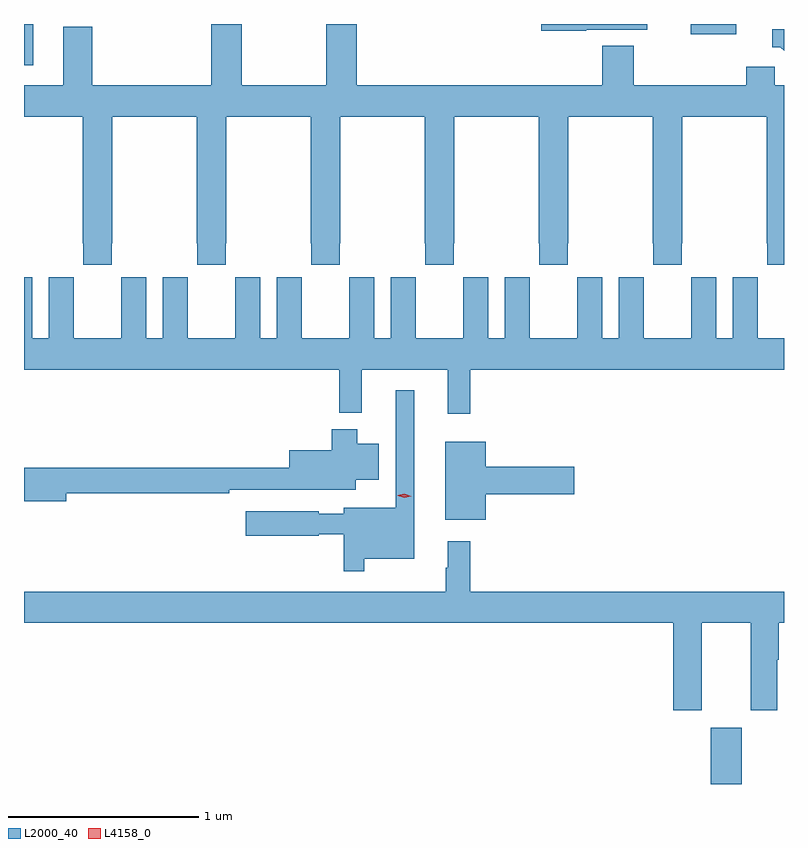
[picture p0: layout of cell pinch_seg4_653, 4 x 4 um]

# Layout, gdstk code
import gdstk
lib = gdstk.Library(unit=1e-6, precision=1e-09)
def R(c, l, rs):  # rectangles x0, y0, x1, y1
    for r in rs: c.add(gdstk.rectangle(r[:2], r[2:], *l))
def P(c, l, *ps):  # polygons
    for p in ps: c.add(gdstk.Polygon(p, *l))
L2000_40 = (2000, 40)
L4158_0 = (4158, 0)

pinch_seg4_653 = lib.new_cell('pinch_seg4_653')
R(pinch_seg4_653, L2000_40, [(1069.991,766.667,1070.155,766.963), (1066.377,770.451,1066.426,770.667), (1069.887,770.614,1070.126,770.667)])
P(pinch_seg4_653, L2000_40, [(1068.039,769.513),(1068.042,769.513),(1068.042,770.18),(1068.487,770.18),(1068.487,769.513),(1068.489,769.513),(1068.489,769.401),(1068.639,769.401),(1068.639,769.513),(1068.642,769.513),(1068.642,770.18),(1069.087,770.18),(1069.087,769.513),(1069.089,769.513),(1069.089,769.401),(1069.239,769.401),(1069.239,769.513),(1069.242,769.513),(1069.242,770.18),(1069.687,770.18),(1069.687,769.513),(1069.689,769.513),(1069.689,769.401),(1069.839,769.401),(1069.839,769.513),(1069.842,769.513),(1069.842,770.18),(1070.287,770.18),(1070.287,769.513),(1070.289,769.513),(1070.289,769.401),(1070.377,769.401),(1070.377,770.344),(1070.328,770.344),(1070.328,770.442),(1070.177,770.442),(1070.177,770.344),(1069.586,770.344),(1069.586,770.552),(1069.421,770.552),(1069.421,770.344),(1068.128,770.344),(1068.128,770.667),(1067.968,770.667),(1067.968,770.344),(1067.523,770.344),(1067.523,770.667),(1067.363,770.667),(1067.363,770.344),(1066.736,770.344),(1066.736,770.653),(1066.583,770.653),(1066.583,770.344),(1066.377,770.344),(1066.377,770.18),(1066.687,770.18),(1066.687,769.513),(1066.689,769.513),(1066.689,769.401),(1066.839,769.401),(1066.839,769.513),(1066.842,769.513),(1066.842,770.18),(1067.287,770.18),(1067.287,769.513),(1067.289,769.513),(1067.289,769.401),(1067.439,769.401),(1067.439,769.513),(1067.442,769.513),(1067.442,770.18),(1067.887,770.18),(1067.887,769.513),(1067.889,769.513),(1067.889,769.401),(1068.039,769.401)],
  [(1069.337,770.637),(1069.656,770.637),(1069.656,770.667),(1069.099,770.667),(1069.099,770.632),(1069.337,770.632)],
  [(1070.377,770.64),(1070.315,770.64),(1070.315,770.544),(1070.358,770.544),(1070.377,770.525)],
  [(1068.725,768.848),(1070.377,768.848),(1070.377,769.012),(1070.239,769.012),(1070.239,769.22),(1070.238,769.22),(1070.238,769.333),(1070.108,769.333),(1070.108,769.012),(1070.02,769.012),(1070.02,769.333),(1069.89,769.333),(1069.89,769.22),(1069.889,769.22),(1069.889,769.012),(1069.639,769.012),(1069.639,769.22),(1069.638,769.22),(1069.638,769.333),(1069.508,769.333),(1069.508,769.012),(1069.42,769.012),(1069.42,769.333),(1069.29,769.333),(1069.29,769.22),(1069.289,769.22),(1069.289,769.012),(1069.039,769.012),(1069.039,769.22),(1069.038,769.22),(1069.038,769.333),(1068.908,769.333),(1068.908,769.012),(1068.82,769.012),(1068.82,769.333),(1068.69,769.333),(1068.69,769.22),(1068.689,769.22),(1068.689,769.012),(1068.439,769.012),(1068.439,769.22),(1068.438,769.22),(1068.438,769.333),(1068.308,769.333),(1068.308,769.012),(1068.22,769.012),(1068.22,769.333),(1068.09,769.333),(1068.09,769.22),(1068.089,769.22),(1068.089,769.012),(1067.839,769.012),(1067.839,769.22),(1067.838,769.22),(1067.838,769.333),(1067.708,769.333),(1067.708,769.012),(1067.62,769.012),(1067.62,769.333),(1067.49,769.333),(1067.49,769.22),(1067.489,769.22),(1067.489,769.012),(1067.239,769.012),(1067.239,769.22),(1067.238,769.22),(1067.238,769.333),(1067.108,769.333),(1067.108,769.012),(1067.02,769.012),(1067.02,769.333),(1066.89,769.333),(1066.89,769.22),(1066.889,769.22),(1066.889,769.012),(1066.639,769.012),(1066.639,769.22),(1066.638,769.22),(1066.638,769.333),(1066.508,769.333),(1066.508,769.012),(1066.42,769.012),(1066.42,769.333),(1066.377,769.333),(1066.377,768.848),(1068.037,768.848),(1068.037,768.62),(1068.155,768.62),(1068.155,768.848),(1068.608,768.848),(1068.608,768.615),(1068.725,768.615)],
  [(1068.169,767.852),(1068.43,767.852),(1068.43,768.739),(1068.333,768.739),(1068.333,768.121),(1068.059,768.121),(1068.059,768.09),(1067.928,768.09),(1067.928,768.103),(1067.544,768.103),(1067.544,767.974),(1067.928,767.974),(1067.928,767.982),(1068.059,767.982),(1068.059,767.787),(1068.169,767.787)],
  [(1066.6,768.196),(1067.456,768.196),(1067.456,768.216),(1067.878,768.216),(1067.878,768.215),(1068.124,768.215),(1068.124,768.269),(1068.244,768.269),(1068.244,768.457),(1068.13,768.457),(1068.13,768.535),(1067.996,768.535),(1067.996,768.424),(1067.774,768.424),(1067.774,768.332),(1066.377,768.332),(1066.377,768.154),(1066.6,768.154)],
  [(1068.808,768.191),(1069.273,768.191),(1069.273,768.338),(1068.808,768.338),(1068.808,768.469),(1068.593,768.469),(1068.593,768.059),(1068.808,768.059)],
  [(1069.945,767.516),(1070.201,767.516),(1070.201,767.055),(1070.341,767.055),(1070.341,767.32),(1070.349,767.32),(1070.349,767.516),(1070.377,767.516),(1070.377,767.68),(1068.725,767.68),(1068.725,767.944),(1068.608,767.944),(1068.608,767.804),(1068.597,767.804),(1068.597,767.68),(1066.377,767.68),(1066.377,767.516),(1069.793,767.516),(1069.793,767.055),(1069.945,767.055)])
P(pinch_seg4_653, L4158_0, [(1068.378,768.174),(1068.343,768.185),(1068.343,768.186),(1068.343,768.186),(1068.379,768.194),(1068.414,768.182),(1068.414,768.182),(1068.414,768.182)])

lib.write_gds('pinch_seg4_653.gds')
